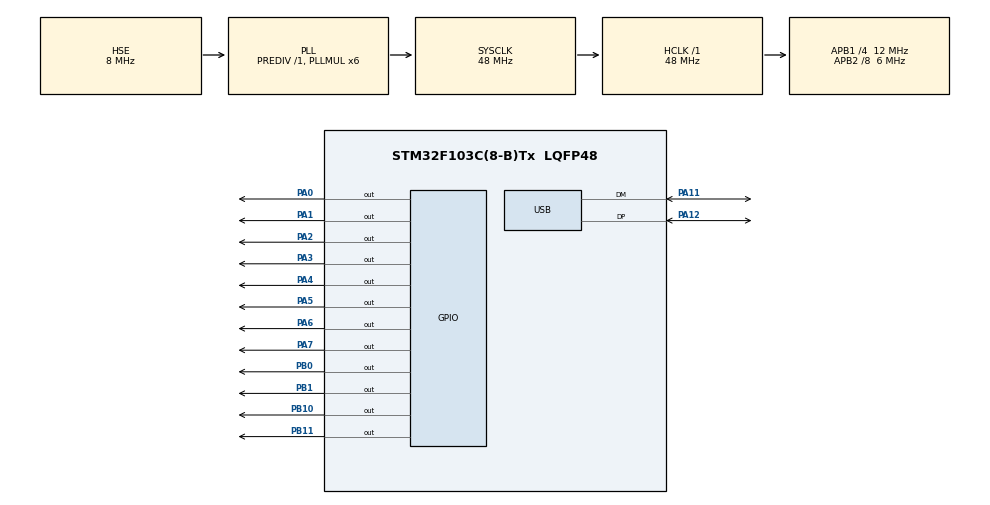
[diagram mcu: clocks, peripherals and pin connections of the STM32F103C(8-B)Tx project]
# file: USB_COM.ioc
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Mcu.Family=STM32F1
Mcu.Name=STM32F103C(8-B)Tx
Mcu.Package=LQFP48
NVIC.PriorityGroup=NVIC_PRIORITYGROUP_4
NVIC.USB_HP_CAN1_TX_IRQn=true\:0\:0\:false\:false\:true\:true\:true\:true
NVIC.USB_LP_CAN1_RX0_IRQn=true\:0\:0\:false\:false\:true\:false\:true\:true
PA0-WKUP.GPIO_ModeDefaultOutputPP=GPIO_MODE_OUTPUT_PP
PA0-WKUP.GPIO_PuPd=GPIO_PULLDOWN
PA0-WKUP.GPIO_Speed=GPIO_SPEED_FREQ_LOW
PA0-WKUP.PinState=GPIO_PIN_SET
PA0-WKUP.Signal=GPIO_Output
PA1.GPIO_PuPd=GPIO_PULLDOWN
PA1.PinState=GPIO_PIN_SET
PA1.Signal=GPIO_Output
PA11.Mode=Device
PA11.Signal=USB_DM
PA12.Mode=Device
PA12.Signal=USB_DP
PA13.Mode=Serial_Wire
PA13.Signal=SYS_JTMS-SWDIO
PA14.Mode=Serial_Wire
PA14.Signal=SYS_JTCK-SWCLK
PA2.GPIO_ModeDefaultOutputPP=GPIO_MODE_OUTPUT_PP
PA2.GPIO_PuPd=GPIO_PULLDOWN
PA2.PinState=GPIO_PIN_SET
PA2.Signal=GPIO_Output
PA3.GPIO_PuPd=GPIO_PULLDOWN
PA3.PinState=GPIO_PIN_SET
PA3.Signal=GPIO_Output
PA4.GPIO_PuPd=GPIO_PULLDOWN
PA4.Signal=GPIO_Output
PA5.GPIO_PuPd=GPIO_PULLDOWN
PA5.Signal=GPIO_Output
PA6.GPIO_PuPd=GPIO_PULLDOWN
PA6.Signal=GPIO_Output
PA7.GPIO_PuPd=GPIO_PULLDOWN
PA7.Signal=GPIO_Output
PB0.GPIO_PuPd=GPIO_PULLDOWN
PB0.Signal=GPIO_Output
PB1.GPIO_PuPd=GPIO_PULLDOWN
PB1.Signal=GPIO_Output
PB10.GPIO_PuPd=GPIO_PULLDOWN
PB10.Signal=GPIO_Output
PB11.GPIO_PuPd=GPIO_PULLDOWN
PB11.Signal=GPIO_Output
PD0-OSC_IN.Mode=HSE-External-Oscillator
PD0-OSC_IN.Signal=RCC_OSC_IN
PD1-OSC_OUT.Mode=HSE-External-Oscillator
PD1-OSC_OUT.Signal=RCC_OSC_OUT
ProjectManager.HeapSize=0x200
ProjectManager.StackSize=0x400
ProjectManager.TargetToolchain=Makefile
RCC.AHBFreq_Value=48000000
RCC.APB1CLKDivider=RCC_HCLK_DIV4
RCC.APB1Freq_Value=12000000
RCC.APB1TimFreq_Value=24000000
RCC.APB2CLKDivider=RCC_HCLK_DIV8
RCC.APB2Freq_Value=6000000
RCC.APB2TimFreq_Value=12000000
RCC.HCLKFreq_Value=48000000
RCC.PLLMUL=RCC_PLL_MUL6
RCC.SYSCLKFreq_VALUE=48000000
RCC.SYSCLKSource=RCC_SYSCLKSOURCE_PLLCLK
RCC.USBFreq_Value=48000000
TIM1.AutoReloadPreload=TIM_AUTORELOAD_PRELOAD_ENABLE
TIM1.CounterMode=TIM_COUNTERMODE_UP
TIM1.Period=11
TIM1.Prescaler=0
USB_DEVICE.CLASS_NAME_FS=CDC
USB_DEVICE.VirtualMode=Cdc
USB_DEVICE.VirtualModeFS=Cdc_FS
VP_TIM1_VS_ClockSourceINT.Mode=Internal
VP_USB_DEVICE_VS_USB_DEVICE_CDC_FS.Mode=CDC_FS
board=custom

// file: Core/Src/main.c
/* USER CODE BEGIN Header */
/**
  ******************************************************************************
  * @file           : main.c
  * @brief          : Main program body
  ******************************************************************************
  * @attention
  *
  * Copyright (c) 2026 STMicroelectronics.
  * All rights reserved.
  *
  * This software is licensed under terms that can be found in the LICENSE file
  * in the root directory of this software component.
  * If no LICENSE file comes with this software, it is provided AS-IS.
  *
  ******************************************************************************
  */
/* USER CODE END Header */
#include "main.h"
#include "stm32f103xb.h"
#include "stm32f1xx_hal_gpio.h"
#include "usb_device.h"

/* USER CODE BEGIN Includes */
#include <stdint.h>
#include <string.h>
#include <usbd_cdc_if.h>
/* USER CODE END Includes */

/* USER CODE BEGIN PD */
#define USB_BUFLEN 128
#define DIGIT1 GPIO_PIN_3
#define DIGIT2 GPIO_PIN_2
#define DIGIT3 GPIO_PIN_1
#define DIGIT4 GPIO_PIN_0
#define SEGA GPIO_PIN_1 // port B
#define SEGB GPIO_PIN_0 // ~
#define SEGC GPIO_PIN_7
#define SEGD GPIO_PIN_6
#define SEGE GPIO_PIN_5
#define SEGF GPIO_PIN_4
#define SEGG GPIO_PIN_10 // ~
#define SEGP GPIO_PIN_11 // ~
/* USER CODE END PD */

TIM_HandleTypeDef htim1;

/* USER CODE BEGIN PV */
uint8_t usbTxBuff[USB_BUFLEN];
uint16_t usbTxBufLen;

uint8_t usbRxBuff[USB_BUFLEN];
uint16_t usbRXBufLen = 0;
uint8_t usbRXFlag =0;

typedef struct{
    GPIO_TypeDef *port;
    uint16_t Pin;
} PinData;

typedef struct{
  PinData* element;
  uint8_t size;
} list;

PinData LCDSegment1[] = {{GPIOB,SEGB}             ,{GPIOA,SEGC}};
PinData LCDSegment2[] = {{GPIOB,SEGA},{GPIOB,SEGB},             {GPIOA,SEGD},{GPIOA,SEGE},{GPIOB,SEGG}};
PinData LCDSegment3[] = {{GPIOB,SEGA},{GPIOB,SEGB},{GPIOA,SEGC},{GPIOA,SEGD},             {GPIOB,SEGG}};
PinData LCDSegment4[] = {             {GPIOB,SEGB},{GPIOA,SEGC},             {GPIOA,SEGF},{GPIOB,SEGG}};
PinData LCDSegment5[] = {{GPIOB,SEGA},             {GPIOA,SEGC},{GPIOA,SEGD},{GPIOA,SEGF},{GPIOB,SEGG}};
PinData LCDSegment6[] = {{GPIOB,SEGA},             {GPIOA,SEGC},{GPIOA,SEGD},{GPIOA,SEGE},{GPIOA,SEGF},{GPIOB,SEGG}};
PinData LCDSegment7[] = {{GPIOB,SEGA},{GPIOB,SEGB},{GPIOA,SEGC}};
PinData LCDSegment8[] = {{GPIOB,SEGA},{GPIOB,SEGB},{GPIOA,SEGC},{GPIOA,SEGD},{GPIOA,SEGE},{GPIOA,SEGF},{GPIOB,SEGG}};
PinData LCDSegment9[] = {{GPIOB,SEGA},{GPIOB,SEGB},{GPIOA,SEGC},{GPIOA,SEGD},             {GPIOA,SEGF},{GPIOB,SEGG}};
PinData LCDSegment0[] = {{GPIOB,SEGA},{GPIOB,SEGB},{GPIOA,SEGC},{GPIOA,SEGD},{GPIOA,SEGE},{GPIOA,SEGF}};

list LCDList[] = {{LCDSegment0, 7},
                  {LCDSegment1, 2},
                  {LCDSegment2, 5},
                  {LCDSegment3, 5},
                  {LCDSegment4, 4},
                  {LCDSegment5, 5},
                  {LCDSegment6, 6},
                  {LCDSegment7, 3},
                  {LCDSegment8, 7},
                  {LCDSegment9, 6}};

/* USER CODE END PV */

void SystemClock_Config(void);
static void MX_GPIO_Init(void);
static void MX_TIM1_Init(void);
/* USER CODE BEGIN PFP */
void LCD_LEDConfig(uint8_t Value);
void LCDWrite(uint16_t DigitPosition, uint8_t WriteValue);
void DelayUS(TIM_HandleTypeDef *tim , uint8_t time);

void LCDUpdateBuf();
void LCDWriteRXBuf(uint8_t *Buf, uint32_t length);

/* USER CODE END PFP */

/* USER CODE BEGIN 0 */
void USB_RXCallback(uint8_t*Buf,uint32_t *Len){
  memset(usbRxBuff,0,sizeof(usbRxBuff)); // reset buffer
  memcpy(usbRxBuff,Buf,*Len); // cpy buf to Rx buffer

  usbRXBufLen = *Len; // set length
  usbRXFlag =1; // set flag
}
/* USER CODE END 0 */
int main(void)
{

  /* MCU Configuration--------------------------------------------------------*/

  /* Reset of all peripherals, Initializes the Flash interface and the Systick. */
  HAL_Init();

  /* Configure the system clock */
  SystemClock_Config();

  /* Initialize all configured peripherals */
  MX_GPIO_Init();
  MX_USB_DEVICE_Init();
  MX_TIM1_Init();
  /* USER CODE BEGIN 2 */
  HAL_TIM_Base_Start(&htim1);

  /* USER CODE END 2 */

  /* Infinite loop */
  while (1)
  {

    /* USER CODE BEGIN 3 */

    LCDWriteRXBuf(usbRxBuff,usbRXBufLen);

    if (usbRXFlag && usbRXBufLen){  // while ready and buffer has content
      usbTxBufLen = snprintf((char *)usbTxBuff, USB_BUFLEN, "[%s]:%d \r\n",usbRxBuff,usbRXBufLen);
      // the send buffer will copy the RX data, under the format "bytes received: length : content"
      CDC_Transmit_FS(usbTxBuff, USB_BUFLEN);

      memset(usbTxBuff,0,sizeof(usbTxBuff)); // reset tx buffer
      usbRXFlag = 0;
    }
  }
  /* USER CODE END 3 */
}

void SystemClock_Config(void)
{
  RCC_OscInitTypeDef RCC_OscInitStruct = {0};
  RCC_ClkInitTypeDef RCC_ClkInitStruct = {0};
  RCC_PeriphCLKInitTypeDef PeriphClkInit = {0};

  /** Initializes the RCC Oscillators according to the specified parameters
  * in the RCC_OscInitTypeDef structure.
  */
  RCC_OscInitStruct.OscillatorType = RCC_OSCILLATORTYPE_HSE;
  RCC_OscInitStruct.HSEState = RCC_HSE_ON;
  RCC_OscInitStruct.HSEPredivValue = RCC_HSE_PREDIV_DIV1;
  RCC_OscInitStruct.HSIState = RCC_HSI_ON;
  RCC_OscInitStruct.PLL.PLLState = RCC_PLL_ON;
  RCC_OscInitStruct.PLL.PLLSource = RCC_PLLSOURCE_HSE;
  RCC_OscInitStruct.PLL.PLLMUL = RCC_PLL_MUL6;
  if (HAL_RCC_OscConfig(&RCC_OscInitStruct) != HAL_OK)
  {
    Error_Handler();
  }

  /** Initializes the CPU, AHB and APB buses clocks
  */
  RCC_ClkInitStruct.ClockType = RCC_CLOCKTYPE_HCLK|RCC_CLOCKTYPE_SYSCLK
                              |RCC_CLOCKTYPE_PCLK1|RCC_CLOCKTYPE_PCLK2;
  RCC_ClkInitStruct.SYSCLKSource = RCC_SYSCLKSOURCE_PLLCLK;
  RCC_ClkInitStruct.AHBCLKDivider = RCC_SYSCLK_DIV1;
  RCC_ClkInitStruct.APB1CLKDivider = RCC_HCLK_DIV4;
  RCC_ClkInitStruct.APB2CLKDivider = RCC_HCLK_DIV8;

  if (HAL_RCC_ClockConfig(&RCC_ClkInitStruct, FLASH_LATENCY_1) != HAL_OK)
  {
    Error_Handler();
  }
  PeriphClkInit.PeriphClockSelection = RCC_PERIPHCLK_USB;
  PeriphClkInit.UsbClockSelection = RCC_USBCLKSOURCE_PLL;
  if (HAL_RCCEx_PeriphCLKConfig(&PeriphClkInit) != HAL_OK)
  {
    Error_Handler();
  }
}

static void MX_TIM1_Init(void)
{

  TIM_ClockConfigTypeDef sClockSourceConfig = {0};
  TIM_MasterConfigTypeDef sMasterConfig = {0};

  htim1.Instance = TIM1;
  htim1.Init.Prescaler = 0;
  htim1.Init.CounterMode = TIM_COUNTERMODE_UP;
  htim1.Init.Period = 11;
  htim1.Init.ClockDivision = TIM_CLOCKDIVISION_DIV1;
  htim1.Init.RepetitionCounter = 0;
  htim1.Init.AutoReloadPreload = TIM_AUTORELOAD_PRELOAD_ENABLE;
  if (HAL_TIM_Base_Init(&htim1) != HAL_OK)
  {
    Error_Handler();
  }
  sClockSourceConfig.ClockSource = TIM_CLOCKSOURCE_INTERNAL;
  if (HAL_TIM_ConfigClockSource(&htim1, &sClockSourceConfig) != HAL_OK)
  {
    Error_Handler();
  }
  sMasterConfig.MasterOutputTrigger = TIM_TRGO_RESET;
  sMasterConfig.MasterSlaveMode = TIM_MASTERSLAVEMODE_DISABLE;
  if (HAL_TIMEx_MasterConfigSynchronization(&htim1, &sMasterConfig) != HAL_OK)
  {
    Error_Handler();
  }

}

static void MX_GPIO_Init(void)
{
  GPIO_InitTypeDef GPIO_InitStruct = {0};

  /* GPIO Ports Clock Enable */
  __HAL_RCC_GPIOD_CLK_ENABLE();
  __HAL_RCC_GPIOA_CLK_ENABLE();
  __HAL_RCC_GPIOB_CLK_ENABLE();

  /*Configure GPIO pin Output Level */
  HAL_GPIO_WritePin(GPIOA, GPIO_PIN_0|GPIO_PIN_1|GPIO_PIN_2|GPIO_PIN_3, GPIO_PIN_SET);

  /*Configure GPIO pin Output Level */
  HAL_GPIO_WritePin(GPIOA, GPIO_PIN_4|GPIO_PIN_5|GPIO_PIN_6|GPIO_PIN_7, GPIO_PIN_RESET);

  /*Configure GPIO pin Output Level */
  HAL_GPIO_WritePin(GPIOB, GPIO_PIN_0|GPIO_PIN_1|GPIO_PIN_10|GPIO_PIN_11, GPIO_PIN_RESET);

  /*Configure GPIO pins : PA0 PA1 PA2 PA3
                           PA4 PA5 PA6 PA7 */
  GPIO_InitStruct.Pin = GPIO_PIN_0|GPIO_PIN_1|GPIO_PIN_2|GPIO_PIN_3
                          |GPIO_PIN_4|GPIO_PIN_5|GPIO_PIN_6|GPIO_PIN_7;
  GPIO_InitStruct.Mode = GPIO_MODE_OUTPUT_PP;
  GPIO_InitStruct.Pull = GPIO_PULLDOWN;
  GPIO_InitStruct.Speed = GPIO_SPEED_FREQ_LOW;
  HAL_GPIO_Init(GPIOA, &GPIO_InitStruct);

  /*Configure GPIO pins : PB0 PB1 PB10 PB11 */
  GPIO_InitStruct.Pin = GPIO_PIN_0|GPIO_PIN_1|GPIO_PIN_10|GPIO_PIN_11;
  GPIO_InitStruct.Mode = GPIO_MODE_OUTPUT_PP;
  GPIO_InitStruct.Pull = GPIO_PULLDOWN;
  GPIO_InitStruct.Speed = GPIO_SPEED_FREQ_LOW;
  HAL_GPIO_Init(GPIOB, &GPIO_InitStruct);

}

/* USER CODE BEGIN 4 */
void LCDWrite(uint16_t DigitPosition, uint8_t WriteValue){
    HAL_GPIO_WritePin(GPIOA,DigitPosition,GPIO_PIN_RESET); // enables the LED
    LCD_LEDConfig(WriteValue); // draws the number
    HAL_GPIO_WritePin(GPIOA,DigitPosition,GPIO_PIN_SET); // disables the LED
}
void LCD_LEDConfig(uint8_t Value){

  for (int i = 0; i < LCDList[Value].size; i++){
    HAL_GPIO_WritePin(LCDList[Value].element[i].port,LCDList[Value].element[i].Pin,GPIO_PIN_SET);
    DelayUS(&htim1, 10);
    HAL_GPIO_WritePin(LCDList[Value].element[i].port,LCDList[Value].element[i].Pin,GPIO_PIN_RESET);
  }
}

void LCDWriteRXBuf(uint8_t *Buf, uint32_t length){

  switch (length){

    case 1:
    LCDWrite(DIGIT4, Buf[0] - 48);
    break;
    case 2:
    LCDWrite(DIGIT3, Buf[0] - 48);
    LCDWrite(DIGIT4, Buf[1] - 48);
    break;
    case 3:
    LCDWrite(DIGIT2, Buf[0] - 48);
    LCDWrite(DIGIT3, Buf[1] - 48);
    LCDWrite(DIGIT4, Buf[2] - 48);
    break;
    default:
    LCDWrite(DIGIT1, 0);
}

}
void DelayUS(TIM_HandleTypeDef *tim , uint8_t time){

    __HAL_TIM_SET_COUNTER(tim, 0);
    while(__HAL_TIM_GET_COUNTER(tim) < 1){}
}
/* USER CODE END 4 */

void Error_Handler(void)
{
  __disable_irq();
  while (1)
  {
  }
}
